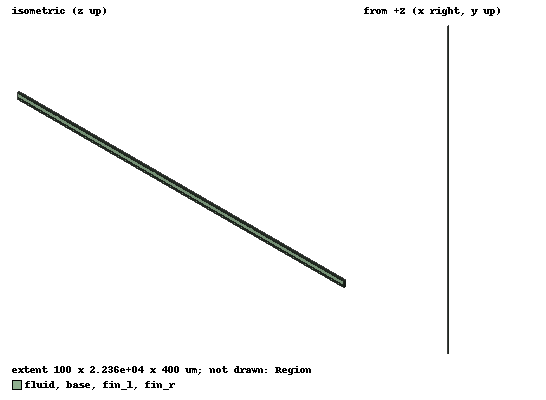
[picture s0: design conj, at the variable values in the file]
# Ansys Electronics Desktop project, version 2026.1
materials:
  air: permittivity=1.0006 permeability=1.0000004 thermal_conductivity=0.0261 mass_density=1.1614 specific_heat=1005 thermal_expansion_coefficient=0.00333 thermal_material_type=Fluid diffusivity=2.88e-05 molecular_mass=0.028966 viscosity=1.84e-05 material_refractive_index=1.000293
  si_bench: thermal_conductivity=130 mass_density=2330 specific_heat=700
  water_bench: thermal_conductivity=0.644 mass_density=988 specific_heat=4181 viscosity=0.000547
  Al-Extruded: thermal_conductivity=205 mass_density=2800 specific_heat=900 youngs_modulus=69000000000 poissons_ratio=0.33 thermal_expansion_coefficient=2.277e-06 thermal_material_type=Solid
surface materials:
  Steel-oxidised-surface: surface_emissivity=0.8

design conj (Icepak, SteadyState TemperatureAndFlow, model units um)
options: Default_Fluid_Material=water_bench Default_Solid_Material=si_bench Default_Surface_Material=Steel-oxidised-surface AmbientTemperature=25cel AmbientPressure=0n_per_meter_sq AmbientRadiationTemperature=25cel Gravity_Vector_CS_ID=Global Gravity_Vector_Axis=Z Positive=false Altitude=0meter OperatingPressure=101325n_per_meter_sq OperatingDensity=1.225kg_per_m3 JouleHeatingType=0 DisableShellConductionForJouleHeating
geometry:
  Region [air] = region(percentage_offset=50 on all sides)
  base [si_bench] = box(corner=(0um, 0um, 0um), size=(100um, 22360um, 100um))
  fin_l [si_bench] = box(corner=(0um, 0um, 100um), size=(25um, 22360um, 300um))
  fin_r [si_bench] = box(corner=(75um, 0um, 100um), size=(25um, 22360um, 300um))
  fluid [water_bench] = box(corner=(25um, 0um, 100um), size=(50um, 22360um, 300um))
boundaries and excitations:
  inlet: Opening Faces=fluid.face(-y) Temperature=25cel External_Rad._Temperature=25cel Inlet_Type="Mass Flow" Total_Pressure=AmbientPressure Mass_Flow_Rate=0.000121076kg_per_s Mass_Flow_Direction="Normal to Boundary" Mass_Flow_Condition="In Flow"
  outlet: Opening Faces=fluid.face(+y) Temperature=25cel External_Rad._Temperature=25cel Inlet_Type=Pressure Total_Pressure=AmbientPressure
  base_src: Block Objects=base Block_Type=Solid Use_Total_Power Total_Power=4.4843W
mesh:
  Global:  MeshMethod=MesherHD UserSpecifiedSettings ComputeGap MaxElementSizeX=16.666667um MaxElementSizeY=372.66667um MaxElementSizeZ=20um MinElementsInGap=4 MinElementsOnEdge=3 MaxSizeRatio=2 EnableMLM EnforeMLMType=3D MaxLevels=0 BufferLayers=0 UniformMeshParametersType=Average MinGapX=1um MinGapY=1um MinGapZ=1um FacetLevel=3 ProximitySizeFunction CurvatureSizeFunction OptimizePCBMesh
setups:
  Setup1: IcepakSteadyState Flow_Regime=Laminar Include_Temperature=true Include_Flow=true Solution_Initialization_-_Y_Velocity=8.16979m_per_sec Solution_Initialization_-_Temperature=25cel Convergence_Criteria_-_Flow=0.0001 Convergence_Criteria_-_Energy=1e-08 GPU_Convergence_Criteria_-_Flow=0.001 GPU_Convergence_Criteria_-_Energy=1e-05 disabled Radiation_Model=Off Under-relaxation_-_Pressure=0.3 Under-relaxation_-_Momentum=0.7 Under-relaxation_-_Temperature=1 Under-relaxation_-_Body_Force=1 Discretization_Scheme_-_Pressure=Standard Discretization_Scheme_-_Momentum=First Discretization_Scheme_-_Temperature=First Enable_Hybrid_precision_for_GPU Partition_method=Metis Convergence_Criteria_-_Max_Iterations=400
